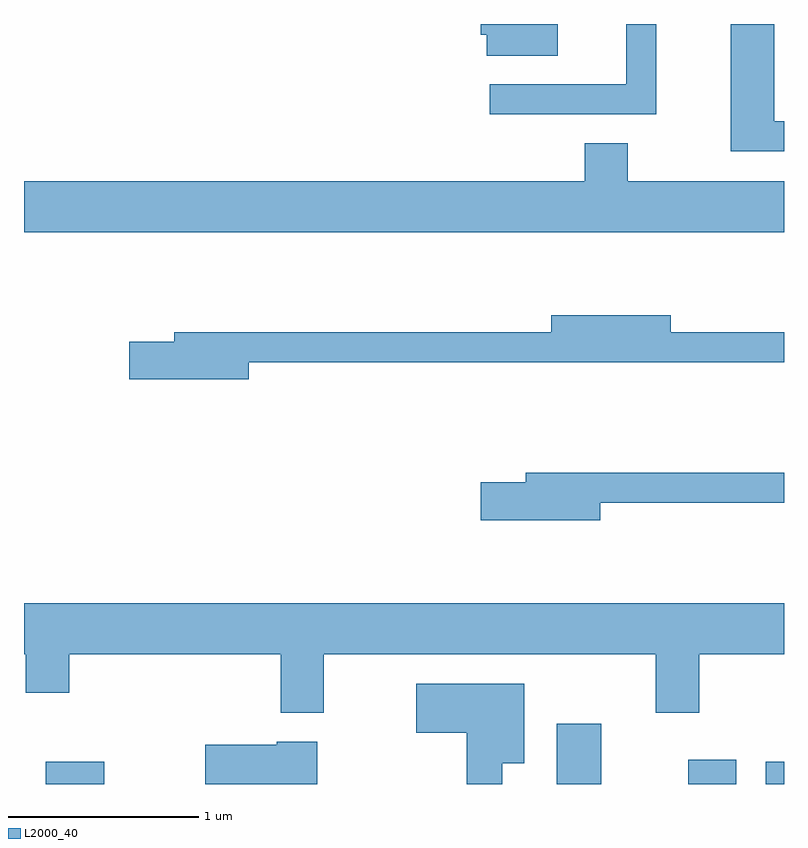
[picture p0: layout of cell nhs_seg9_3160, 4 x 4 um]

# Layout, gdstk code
import gdstk
lib = gdstk.Library(unit=1e-6, precision=1e-09)
def R(c, l, rs):  # rectangles x0, y0, x1, y1
    for r in rs: c.add(gdstk.rectangle(r[:2], r[2:], *l))
def P(c, l, *ps):  # polygons
    for p in ps: c.add(gdstk.Polygon(p, *l))
L2000_40 = (2000, 40)

nhs_seg9_3160 = lib.new_cell('nhs_seg9_3160')
R(nhs_seg9_3160, L2000_40, [(277.726,2024.432,278.034,2024.549), (280.416,2024.432,280.649,2024.749), (281.106,2024.432,281.359,2024.559), (281.516,2024.432,281.611,2024.549)])
P(nhs_seg9_3160, L2000_40, [(280.419,2028.432),(280.016,2028.432),(280.016,2028.376),(280.046,2028.376),(280.046,2028.266),(280.419,2028.266)],
  [(280.939,2028.432),(280.781,2028.432),(280.781,2028.114),(280.063,2028.114),(280.063,2027.956),(280.939,2027.956)],
  [(281.611,2027.919),(281.559,2027.919),(281.559,2028.432),(281.331,2028.432),(281.331,2027.761),(281.611,2027.761)],
  [(281.611,2027.604),(280.789,2027.604),(280.789,2027.804),(280.561,2027.804),(280.561,2027.604),(277.611,2027.604),(277.611,2027.336),(281.611,2027.336)],
  [(278.794,2026.651),(281.611,2026.651),(281.611,2026.809),(281.014,2026.809),(281.014,2026.899),(280.386,2026.899),(280.386,2026.809),(278.401,2026.809),(278.401,2026.759),(278.166,2026.759),(278.166,2026.561),(278.794,2026.561)],
  [(280.644,2025.911),(281.611,2025.911),(281.611,2026.069),(280.251,2026.069),(280.251,2026.019),(280.016,2026.019),(280.016,2025.821),(280.644,2025.821)],
  [(279.189,2025.116),(280.936,2025.116),(280.936,2024.806),(281.164,2024.806),(281.164,2025.116),(281.611,2025.116),(281.611,2025.384),(277.611,2025.384),(277.611,2025.116),(277.621,2025.116),(277.621,2024.911),(277.849,2024.911),(277.849,2025.116),(278.961,2025.116),(278.961,2024.806),(279.189,2024.806)],
  [(280.129,2024.541),(280.244,2024.541),(280.244,2024.959),(279.676,2024.959),(279.676,2024.701),(279.941,2024.701),(279.941,2024.432),(280.129,2024.432)],
  [(279.154,2024.654),(278.94,2024.654),(278.94,2024.639),(278.566,2024.639),(278.566,2024.432),(279.154,2024.432)])

lib.write_gds('nhs_seg9_3160.gds')
